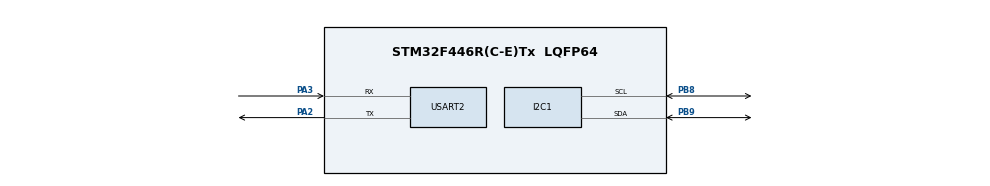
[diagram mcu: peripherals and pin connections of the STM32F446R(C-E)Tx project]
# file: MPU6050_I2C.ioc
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I2C1.I2C_Mode=I2C_Standard
Mcu.Family=STM32F4
Mcu.Name=STM32F446R(C-E)Tx
Mcu.Package=LQFP64
NVIC.PriorityGroup=NVIC_PRIORITYGROUP_4
NVIC.TIM1_BRK_TIM9_IRQn=true\:0\:0\:false\:false\:true\:true\:true\:true
PA2.Mode=Asynchronous
PA2.Signal=USART2_TX
PA3.Mode=Asynchronous
PA3.Signal=USART2_RX
PB8.Mode=I2C
PB8.Signal=I2C1_SCL
PB9.Mode=I2C
PB9.Signal=I2C1_SDA
ProjectManager.HeapSize=0x200
ProjectManager.StackSize=0x400
ProjectManager.TargetToolchain=STM32CubeIDE
RCC.CortexFreq_Value=16000000
RCC.USBFreq_Value=96000000
RCC.VCOOutputFreq_Value=192000000
TIM9.Period=10-1
TIM9.Prescaler=16000-1
USART2.VirtualMode=VM_ASYNC
VP_TIM9_VS_ClockSourceINT.Mode=Internal
board=custom

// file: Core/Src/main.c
/* USER CODE BEGIN Header */
/**
  ******************************************************************************
  * @file           : main.c
  * @brief          : Main program body
  ******************************************************************************
  * @attention
  *
  * Copyright (c) 2022 STMicroelectronics.
  * All rights reserved.
  *
  * This software is licensed under terms that can be found in the LICENSE file
  * in the root directory of this software component.
  * If no LICENSE file comes with this software, it is provided AS-IS.
  *
  ******************************************************************************
  */
/* USER CODE END Header */
#include "main.h"

/* USER CODE BEGIN Includes */
#include "mpu6050.h"
#include <stdio.h>
#include <string.h>
#include <inttypes.h>

/* USER CODE END Includes */

I2C_HandleTypeDef hi2c1;
TIM_HandleTypeDef htim9;
UART_HandleTypeDef huart2;

/* USER CODE BEGIN PV */
Mpu6050DeviceData mpu6050Device;
Status mpu6050InitStatus = NOK;
uint8_t message[40] = "";
uint8_t counterTimer1 = 0;
uint8_t counterTimer2 = 0;

const uint32_t timeoutUart = 100;
const uint8_t delay2s = 200;
const uint8_t delay100ms = 10;
const uint8_t delay500ms = 50;

/* USER CODE END PV */

void SystemClock_Config(void);
static void MX_GPIO_Init(void);
static void MX_I2C1_Init(void);
static void MX_USART2_UART_Init(void);
static void MX_TIM9_Init(void);

/* USER CODE BEGIN 0 */

/*
 * Timer interrupt handling (10ms)
 */
void HAL_TIM_PeriodElapsedCallback(TIM_HandleTypeDef *htim)
{
	if (htim == &htim9)
	{
		counterTimer1++;
		//counterTimer2++;
	}
}

/* USER CODE END 0 */

int main(void)
{

  /* MCU Configuration--------------------------------------------------------*/

  /* Reset of all peripherals, Initializes the Flash interface and the Systick. */
  HAL_Init();

  /* Configure the system clock */
  SystemClock_Config();

  /* Initialize all configured peripherals */
  MX_GPIO_Init();
  MX_I2C1_Init();
  MX_USART2_UART_Init();
  MX_TIM9_Init();
  /* USER CODE BEGIN 2 */

  HAL_Delay(2500);
  mpu6050InitStatus = mpu6050Init(&hi2c1, &mpu6050Device);
  HAL_TIM_Base_Start_IT(&htim9);

  /* USER CODE END 2 */

  /* Infinite loop */
  while (1)
  {

    /* USER CODE BEGIN 3 */

	  if (counterTimer1 >= delay500ms)
	  {
		  if (mpu6050InitStatus == OK)
		  {
			  mpu6050GetAccel(&mpu6050Device);

			  sprintf((char *) message, "Accel: X = %.2fg\r\n", mpu6050Device.accel[X_AXIS]);
			  HAL_UART_Transmit(&huart2, message, strlen((char *) message), timeoutUart);

			  sprintf((char *) message, "Accel: Y = %.2fg\r\n", mpu6050Device.accel[Y_AXIS]);
			  HAL_UART_Transmit(&huart2, message, strlen((char *) message), timeoutUart);

			  sprintf((char *) message, "Accel: Z = %.2fg\r\n\r\n", mpu6050Device.accel[Z_AXIS]);
			  HAL_UART_Transmit(&huart2, message, strlen((char *) message), timeoutUart);
		  }
		  else
		  {
			  HAL_UART_Transmit(&huart2, (uint8_t *) "NOK\n\r", 6, timeoutUart);
			  mpu6050InitStatus = mpu6050Init(&hi2c1, &mpu6050Device);
		  }
		  counterTimer1 = 0;
	  }

  }
  /* USER CODE END 3 */
}

void SystemClock_Config(void)
{
  RCC_OscInitTypeDef RCC_OscInitStruct = {0};
  RCC_ClkInitTypeDef RCC_ClkInitStruct = {0};

  /** Configure the main internal regulator output voltage
  */
  __HAL_RCC_PWR_CLK_ENABLE();
  __HAL_PWR_VOLTAGESCALING_CONFIG(PWR_REGULATOR_VOLTAGE_SCALE3);

  /** Initializes the RCC Oscillators according to the specified parameters
  * in the RCC_OscInitTypeDef structure.
  */
  RCC_OscInitStruct.OscillatorType = RCC_OSCILLATORTYPE_HSI;
  RCC_OscInitStruct.HSIState = RCC_HSI_ON;
  RCC_OscInitStruct.HSICalibrationValue = RCC_HSICALIBRATION_DEFAULT;
  RCC_OscInitStruct.PLL.PLLState = RCC_PLL_NONE;
  if (HAL_RCC_OscConfig(&RCC_OscInitStruct) != HAL_OK)
  {
    Error_Handler();
  }

  /** Initializes the CPU, AHB and APB buses clocks
  */
  RCC_ClkInitStruct.ClockType = RCC_CLOCKTYPE_HCLK|RCC_CLOCKTYPE_SYSCLK
                              |RCC_CLOCKTYPE_PCLK1|RCC_CLOCKTYPE_PCLK2;
  RCC_ClkInitStruct.SYSCLKSource = RCC_SYSCLKSOURCE_HSI;
  RCC_ClkInitStruct.AHBCLKDivider = RCC_SYSCLK_DIV1;
  RCC_ClkInitStruct.APB1CLKDivider = RCC_HCLK_DIV1;
  RCC_ClkInitStruct.APB2CLKDivider = RCC_HCLK_DIV1;

  if (HAL_RCC_ClockConfig(&RCC_ClkInitStruct, FLASH_LATENCY_0) != HAL_OK)
  {
    Error_Handler();
  }
}

static void MX_I2C1_Init(void)
{

  hi2c1.Instance = I2C1;
  hi2c1.Init.ClockSpeed = 100000;
  hi2c1.Init.DutyCycle = I2C_DUTYCYCLE_2;
  hi2c1.Init.OwnAddress1 = 0;
  hi2c1.Init.AddressingMode = I2C_ADDRESSINGMODE_7BIT;
  hi2c1.Init.DualAddressMode = I2C_DUALADDRESS_DISABLE;
  hi2c1.Init.OwnAddress2 = 0;
  hi2c1.Init.GeneralCallMode = I2C_GENERALCALL_DISABLE;
  hi2c1.Init.NoStretchMode = I2C_NOSTRETCH_DISABLE;
  if (HAL_I2C_Init(&hi2c1) != HAL_OK)
  {
    Error_Handler();
  }

}

static void MX_TIM9_Init(void)
{

  TIM_ClockConfigTypeDef sClockSourceConfig = {0};

  htim9.Instance = TIM9;
  htim9.Init.Prescaler = 16000-1;
  htim9.Init.CounterMode = TIM_COUNTERMODE_UP;
  htim9.Init.Period = 10-1;
  htim9.Init.ClockDivision = TIM_CLOCKDIVISION_DIV1;
  htim9.Init.AutoReloadPreload = TIM_AUTORELOAD_PRELOAD_DISABLE;
  if (HAL_TIM_Base_Init(&htim9) != HAL_OK)
  {
    Error_Handler();
  }
  sClockSourceConfig.ClockSource = TIM_CLOCKSOURCE_INTERNAL;
  if (HAL_TIM_ConfigClockSource(&htim9, &sClockSourceConfig) != HAL_OK)
  {
    Error_Handler();
  }

}

static void MX_USART2_UART_Init(void)
{

  huart2.Instance = USART2;
  huart2.Init.BaudRate = 115200;
  huart2.Init.WordLength = UART_WORDLENGTH_8B;
  huart2.Init.StopBits = UART_STOPBITS_1;
  huart2.Init.Parity = UART_PARITY_NONE;
  huart2.Init.Mode = UART_MODE_TX_RX;
  huart2.Init.HwFlowCtl = UART_HWCONTROL_NONE;
  huart2.Init.OverSampling = UART_OVERSAMPLING_16;
  if (HAL_UART_Init(&huart2) != HAL_OK)
  {
    Error_Handler();
  }

}

static void MX_GPIO_Init(void)
{

  /* GPIO Ports Clock Enable */
  __HAL_RCC_GPIOA_CLK_ENABLE();
  __HAL_RCC_GPIOB_CLK_ENABLE();

}

void Error_Handler(void)
{
  __disable_irq();
  while (1)
  {
  }
}
